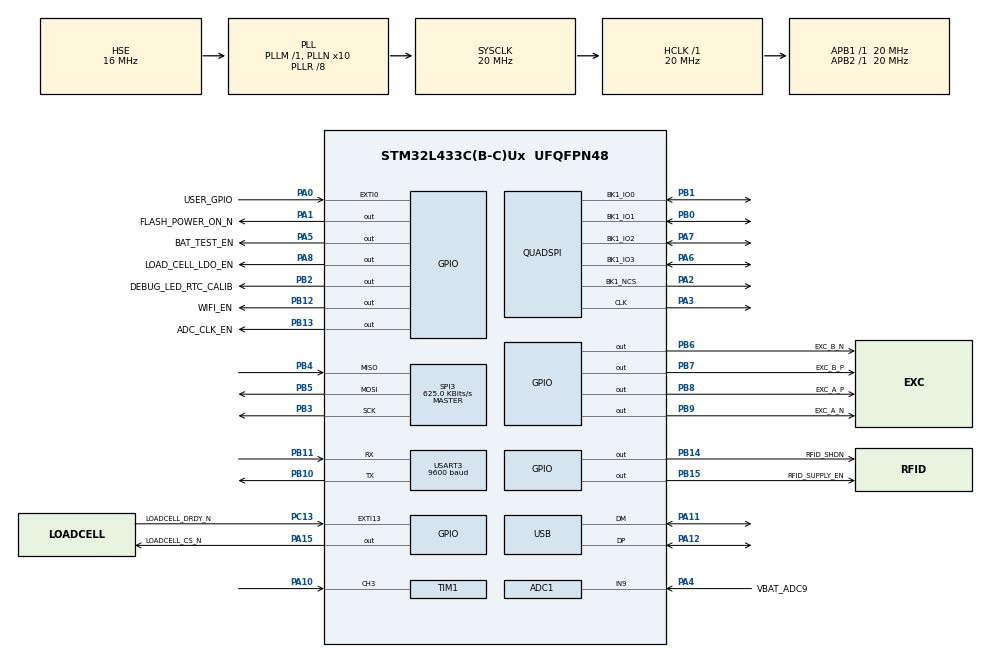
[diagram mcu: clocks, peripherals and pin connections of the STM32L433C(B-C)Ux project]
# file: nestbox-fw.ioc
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SPI3.Direction=SPI_DIRECTION_2LINES
SPI3.VirtualType=VM_MASTER
QUADSPI.ClockPrescaler=2
PB10.Mode=Asynchronous
PB14.GPIO_Label=RFID_SHDN
NVIC.RTC_WKUP_IRQn=true\:0\:0\:false\:false\:true\:true\:true
PB9.GPIO_ModeDefaultOutputPP=GPIO_MODE_OUTPUT_PP
VP_RTC_VS_RTC_Activate.Mode=RTC_Enabled
PB6.GPIO_Label=EXC_B_N
PA15\ (JTDI).Signal=GPIO_Output
PC15-OSC32_OUT\ (PC15).Mode=LSE-External-Oscillator
PB13.Signal=GPIO_Output
RCC.SYSCLKSource=RCC_SYSCLKSOURCE_PLLCLK
PC14-OSC32_IN\ (PC14).Mode=LSE-External-Oscillator
USART3.VirtualMode-Asynchronous=VM_ASYNC
PA14\ (JTCK-SWCLK).Signal=SYS_JTCK-SWCLK
USART3.BaudRate=9600
RCC.ADCCLockSelection=RCC_ADCCLKSOURCE_SYSCLK
RCC.APB2TimFreq_Value=20000000
PB6.Signal=GPIO_Output
QUADSPI.FlashSize=28
NVIC.EXTI15_10_IRQn=true\:0\:0\:false\:false\:true\:true\:true
PB2.Signal=GPIO_Output
RCC.RTCClockSelection=RCC_RTCCLKSOURCE_LSE
PB12.GPIO_Label=WIFI_EN
RCC.LSE_Drive_Capability=RCC_LSEDRIVE_HIGH
PB8.PinState=GPIO_PIN_SET
PA8.Signal=GPIO_Output
VP_TIM1_VS_ClockSourceINT.Mode=Internal
ADC1.SamplingTime-0\#ChannelRegularConversion=ADC_SAMPLETIME_2CYCLES_5
PA0.Signal=GPXTI0
PB7.PinState=GPIO_PIN_SET
Mcu.Package=UFQFPN48
PB9.Signal=GPIO_Output
TIM2.Prescaler=400
PB1.Signal=QUADSPI_BK1_IO0
SPI3.Mode=SPI_MODE_MASTER
PA10.Signal=S_TIM1_CH3
VP_RTC_VS_RTC_Calendar.Mode=RTC_Calendar
PA1.PinState=GPIO_PIN_RESET
SH.ADCx_IN9.0=ADC1_IN9,IN9-Single-Ended
RCC.APB1TimFreq_Value=20000000
TIM16.Prescaler=800
PA13\ (JTMS-SWDIO).Signal=SYS_JTMS-SWDIO
PH0-OSC_IN\ (PH0).Mode=HSE-External-Oscillator
PA4.GPIO_Label=VBAT_ADC9
RCC.HSI48_VALUE=48000000
ADC1.Rank-0\#ChannelRegularConversion=1
ADC1.OffsetNumber-0\#ChannelRegularConversion=ADC_OFFSET_NONE
PC13.Signal=GPXTI13
TIM2.Pulse-PWM\ Generation1\ No\ Output=50
VP_TIM16_VS_ClockSourceINT.Mode=Enable_Timer
PA3.Mode=Single Bank 1
CRC.DefaultPolynomialUse=DEFAULT_POLYNOMIAL_DISABLE
PB8.GPIO_Label=EXC_A_P
PA8.GPIO_Label=LOAD_CELL_LDO_EN
PB11.Mode=Asynchronous
RCC.HSE_Timout=100
RTC.Format=RTC_FORMAT_BIN
PB10.Signal=USART3_TX
PB14.Signal=GPIO_Output
PA5.Signal=GPIO_Output
PB15.GPIO_Label=RFID_SUPPLY_EN
PA0.GPIO_ModeDefaultEXTI=GPIO_MODE_IT_RISING_FALLING
PB3\ (JTDO-TRACESWO).Mode=Full_Duplex_Master
PA1.GPIO_Label=FLASH_POWER_ON_N
TIM2.Period=100
PB4\ (NJTRST).Mode=Full_Duplex_Master
NVIC.RTC_Alarm_IRQn=true\:0\:0\:false\:false\:true\:true\:true
NVIC.TIM1_CC_IRQn=true\:0\:0\:false\:false\:true\:true\:true
PA13\ (JTMS-SWDIO).Mode=Serial_Wire
PA4.Signal=ADCx_IN9
PB5.Signal=SPI3_MOSI
ADC1.master=1
PA5.GPIO_Label=BAT_TEST_EN
PA11.Signal=USB_DM
ProjectManager.HeapSize=0x200
PB1.Mode=Single Bank 1
NVIC.PriorityGroup=NVIC_PRIORITYGROUP_4
TIM2.Channel-PWM\ Generation1\ No\ Output=TIM_CHANNEL_1
PA15\ (JTDI).PinState=GPIO_PIN_SET
PB0.Signal=QUADSPI_BK1_IO1
CRC.CRCLength=CRC_POLYLENGTH_8B
Mcu.Family=STM32L4
NVIC.USART3_IRQn=true\:0\:0\:false\:false\:true\:true\:true
SPI3.TIMode=SPI_TIMODE_DISABLE
PA6.Mode=Single Bank 1
USB_DEVICE.CLASS_NAME_FS=CDC
RCC.CortexFreq_Value=20000000
NVIC.USB_IRQn=true\:0\:0\:false\:false\:true\:false\:true
PH0-OSC_IN\ (PH0).Signal=RCC_OSC_IN
PA0.GPIO_Label=USER_GPIO
PA11.Mode=Device
PC13.GPIO_Label=LOADCELL_DRDY_N
PB13.GPIO_Label=ADC_CLK_EN
PB11.Signal=USART3_RX
PB15.Signal=GPIO_Output
VP_RTC_VS_RTC_Alarm_A_Intern.Mode=Alarm A
ProjectManager.StackSize=0x400
PB3\ (JTDO-TRACESWO).Signal=SPI3_SCK
RTC.WakeUpClock-WakeUp=RTC_WAKEUPCLOCK_CK_SPRE_16BITS
USB_DEVICE.MANUFACTURER_STRING=Octanis Instruments
PA12.Signal=USB_DP
TIM1.Prescaler=160
RCC.HCLKFreq_Value=20000000
RCC.AHBFreq_Value=20000000
SPI3.DataSize=SPI_DATASIZE_8BIT
ADC1.Channel-0\#ChannelRegularConversion=ADC_CHANNEL_9
PH1-OSC_OUT\ (PH1).Mode=HSE-External-Oscillator
RCC.HSE_VALUE=16000000
VP_TIM2_VS_no_output1.Mode=PWM Generation1 No Output
RCC.LSE_Timout=5000
TIM1.Channel-Input_Capture3_from_TI3=TIM_CHANNEL_3
PB5.Mode=Full_Duplex_Master
PC13.GPIO_PuPd=GPIO_NOPULL
PB7.Signal=GPIO_Output
TIM16.RepetitionCounter=0
PB7.GPIO_Label=EXC_B_P
PA6.Signal=QUADSPI_BK1_IO3
PB8.GPIO_ModeDefaultOutputPP=GPIO_MODE_OUTPUT_OD
NVIC.SPI3_IRQn=true\:0\:0\:false\:false\:true\:true\:true
TIM1.ICPolarity_CH3=TIM_INPUTCHANNELPOLARITY_FALLING
RCC.PLLSAI1R=RCC_PLLR_DIV4
RCC.PLLSAI1Q=RCC_PLLQ_DIV4
RCC.PLLSAI1N=12
PA3.Signal=QUADSPI_CLK
RCC.MSI_VALUE=4000000
RCC.PLLSourceVirtual=RCC_PLLSOURCE_HSE
PA14\ (JTCK-SWCLK).Mode=Serial_Wire
PA7.Mode=Single Bank 1
PB9.GPIO_Label=EXC_A_N
USB_DEVICE.VirtualModeFS=Cdc_FS
PC15-OSC32_OUT\ (PC15).Signal=RCC_OSC32_OUT
PH1-OSC_OUT\ (PH1).Signal=RCC_OSC_OUT
ProjectManager.TargetToolchain=STM32CubeIDE
VP_USB_DEVICE_VS_USB_DEVICE_CDC_FS.Mode=CDC_FS
RCC.USBFreq_Value=48000000
PB14.GPIO_ModeDefaultOutputPP=GPIO_MODE_OUTPUT_PP
PA1.Signal=GPIO_Output
PB0.Mode=Single Bank 1
board=custom
SPI3.CLKPhase=SPI_PHASE_2EDGE
RCC.VCOOutputFreq_Value=160000000
TIM16.Period=100
RCC.APB2Freq_Value=20000000
SPI3.CalculateBaudRate=625.0 KBits/s
PB7.GPIO_ModeDefaultOutputPP=GPIO_MODE_OUTPUT_OD
RCC.ADCFreq_Value=20000000
SPI3.BaudRatePrescaler=SPI_BAUDRATEPRESCALER_32
PA15\ (JTDI).GPIO_Label=LOADCELL_CS_N
Mcu.Name=STM32L433C(B-C)Ux
RTC.Alarm-Alarm\ A=RTC_ALARM_A
PA2.Signal=QUADSPI_BK1_NCS
NVIC.EXTI0_IRQn=true\:0\:0\:false\:false\:true\:true\:true
RCC.SYSCLKFreq_VALUE=20000000
PA12.Mode=Device
PC13.GPIO_ModeDefaultEXTI=GPIO_MODE_IT_FALLING
PC14-OSC32_IN\ (PC14).Signal=RCC_OSC32_IN
CRC.DefaultInitValueUse=DEFAULT_INIT_VALUE_DISABLE
PB2.GPIO_Label=DEBUG_LED_RTC_CALIB
SH.S_TIM1_CH3.0=TIM1_CH3,Input_Capture3_from_TI3
RCC.HSI_VALUE=16000000
VP_RTC_VS_RTC_WakeUp_intern.Mode=WakeUp
RCC.PLLQ=RCC_PLLQ_DIV8
RCC.PLLR=RCC_PLLR_DIV8
ADC1.NbrOfConversionFlag=1
RCC.PLLN=10
PA2.Mode=Single Bank 1
PB8.Signal=GPIO_Output
RCC.APB1Freq_Value=20000000
VP_CRC_VS_CRC.Mode=CRC_Activate
USB_DEVICE.VirtualMode=Cdc
ADC1.ClockPrescaler=ADC_CLOCK_ASYNC_DIV128
PB12.Signal=GPIO_Output
PA7.Signal=QUADSPI_BK1_IO2
PA1.GPIO_ModeDefaultOutputPP=GPIO_MODE_OUTPUT_OD
PB4\ (NJTRST).Signal=SPI3_MISO

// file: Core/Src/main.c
/* USER CODE BEGIN Header */
/**
  ******************************************************************************
  * @file           : main.c
  * @brief          : Main program body
  ******************************************************************************
  * @attention
  *
  * <h2><center>&copy; Copyright (c) 2021 STMicroelectronics.
  * All rights reserved.</center></h2>
  *
  * This software component is licensed by ST under Ultimate Liberty license
  * SLA0044, the "License"; You may not use this file except in compliance with
  * the License. You may obtain a copy of the License at:
  *                             www.st.com/SLA0044
  *
  ******************************************************************************
  */
/* USER CODE END Header */
#include "main.h"
#include "adc.h"
#include "crc.h"
#include "quadspi.h"
#include "rtc.h"
#include "spi.h"
#include "tim.h"
#include "usart.h"
#include "usb_device.h"
#include "gpio.h"

/* USER CODE BEGIN Includes */
#include "rfid.h"
#include "load_cell.h"
#include "nestbox.h"
#include "system.h"
#include "boot.h"
/* USER CODE END Includes */

void SystemClock_Config(void);

int main(void)
{

  /* MCU Configuration--------------------------------------------------------*/

  /* Reset of all peripherals, Initializes the Flash interface and the Systick. */
  HAL_Init();

  /* Configure the system clock */
  SystemClock_Config();

  /* USER CODE BEGIN SysInit */

  while(boot_select_boot_from_flash() != HAL_OK); // this function may trigger an irrelevant reset --> execute before SPEC_BOOT_fetch_reset_cause()

  boot_fetch_reset_cause();

  /* USER CODE END SysInit */

  /* Initialize all configured peripherals */
  MX_GPIO_Init();
  MX_QUADSPI_Init();
  MX_ADC1_Init();
  MX_RTC_Init();
  MX_TIM16_Init();
  MX_USB_DEVICE_Init();
  MX_CRC_Init();
  MX_TIM1_Init();
  MX_SPI3_Init();
  MX_USART3_UART_Init();
  MX_TIM2_Init();
  /* USER CODE BEGIN 2 */

  //break to avoid low-power mode catching the debugger:
  HAL_DBGMCU_EnableDBGSleepMode();

  // immediately after init, power off flash until it is used again.
  nb_flash_power_off();

  // sleep test:
//  system_init();
//  while(1)
//  {
//	  HAL_GPIO_TogglePin(DEBUG_LED_RTC_CALIB_GPIO_Port, DEBUG_LED_RTC_CALIB_Pin);
//		system_sleep_IT(2);
//  }

  HAL_Delay(500);

  nestbox_main();

  /* USER CODE END 2 */

  /* Infinite loop */
  /* USER CODE BEGIN WHILE */

  while (1)
  {
	  HAL_Delay(100);
	  HAL_GPIO_TogglePin(DEBUG_LED_RTC_CALIB_GPIO_Port, DEBUG_LED_RTC_CALIB_Pin);

    /* USER CODE END WHILE */

  }
}

void SystemClock_Config(void)
{
  RCC_OscInitTypeDef RCC_OscInitStruct = {0};
  RCC_ClkInitTypeDef RCC_ClkInitStruct = {0};
  RCC_PeriphCLKInitTypeDef PeriphClkInit = {0};

  /** Configure LSE Drive Capability
  */
  HAL_PWR_EnableBkUpAccess();
  __HAL_RCC_LSEDRIVE_CONFIG(RCC_LSEDRIVE_HIGH);
  /** Initializes the RCC Oscillators according to the specified parameters
  * in the RCC_OscInitTypeDef structure.
  */
  RCC_OscInitStruct.OscillatorType = RCC_OSCILLATORTYPE_HSE|RCC_OSCILLATORTYPE_LSE;
  RCC_OscInitStruct.HSEState = RCC_HSE_ON;
  RCC_OscInitStruct.LSEState = RCC_LSE_ON;
  RCC_OscInitStruct.PLL.PLLState = RCC_PLL_ON;
  RCC_OscInitStruct.PLL.PLLSource = RCC_PLLSOURCE_HSE;
  RCC_OscInitStruct.PLL.PLLM = 1;
  RCC_OscInitStruct.PLL.PLLN = 10;
  RCC_OscInitStruct.PLL.PLLP = RCC_PLLP_DIV7;
  RCC_OscInitStruct.PLL.PLLQ = RCC_PLLQ_DIV8;
  RCC_OscInitStruct.PLL.PLLR = RCC_PLLR_DIV8;
  if (HAL_RCC_OscConfig(&RCC_OscInitStruct) != HAL_OK)
  {
    Error_Handler();
  }
  /** Initializes the CPU, AHB and APB buses clocks
  */
  RCC_ClkInitStruct.ClockType = RCC_CLOCKTYPE_HCLK|RCC_CLOCKTYPE_SYSCLK
                              |RCC_CLOCKTYPE_PCLK1|RCC_CLOCKTYPE_PCLK2;
  RCC_ClkInitStruct.SYSCLKSource = RCC_SYSCLKSOURCE_PLLCLK;
  RCC_ClkInitStruct.AHBCLKDivider = RCC_SYSCLK_DIV1;
  RCC_ClkInitStruct.APB1CLKDivider = RCC_HCLK_DIV1;
  RCC_ClkInitStruct.APB2CLKDivider = RCC_HCLK_DIV1;

  if (HAL_RCC_ClockConfig(&RCC_ClkInitStruct, FLASH_LATENCY_1) != HAL_OK)
  {
    Error_Handler();
  }
  PeriphClkInit.PeriphClockSelection = RCC_PERIPHCLK_RTC|RCC_PERIPHCLK_USART3
                              |RCC_PERIPHCLK_USB|RCC_PERIPHCLK_ADC;
  PeriphClkInit.Usart3ClockSelection = RCC_USART3CLKSOURCE_PCLK1;
  PeriphClkInit.AdcClockSelection = RCC_ADCCLKSOURCE_SYSCLK;
  PeriphClkInit.RTCClockSelection = RCC_RTCCLKSOURCE_LSE;
  PeriphClkInit.UsbClockSelection = RCC_USBCLKSOURCE_PLLSAI1;
  PeriphClkInit.PLLSAI1.PLLSAI1Source = RCC_PLLSOURCE_HSE;
  PeriphClkInit.PLLSAI1.PLLSAI1M = 1;
  PeriphClkInit.PLLSAI1.PLLSAI1N = 12;
  PeriphClkInit.PLLSAI1.PLLSAI1P = RCC_PLLP_DIV7;
  PeriphClkInit.PLLSAI1.PLLSAI1Q = RCC_PLLQ_DIV4;
  PeriphClkInit.PLLSAI1.PLLSAI1R = RCC_PLLR_DIV4;
  PeriphClkInit.PLLSAI1.PLLSAI1ClockOut = RCC_PLLSAI1_48M2CLK;
  if (HAL_RCCEx_PeriphCLKConfig(&PeriphClkInit) != HAL_OK)
  {
    Error_Handler();
  }
  /** Configure the main internal regulator output voltage
  */
  if (HAL_PWREx_ControlVoltageScaling(PWR_REGULATOR_VOLTAGE_SCALE1) != HAL_OK)
  {
    Error_Handler();
  }
}

/* USER CODE BEGIN 4 */
void system_restore_clock()
{
	SystemClock_Config();
}
/* USER CODE END 4 */

void Error_Handler(void)
{
  /* USER CODE BEGIN Error_Handler_Debug */
  /* User can add his own implementation to report the HAL error return state */
  __disable_irq();
  while (1)
  {
	  // todo-prod: system reboot:
//	  HAL_NVIC_SystemReset();
  }
  /* USER CODE END Error_Handler_Debug */
}

/************************ (C) COPYRIGHT STMicroelectronics *****END OF FILE****/
